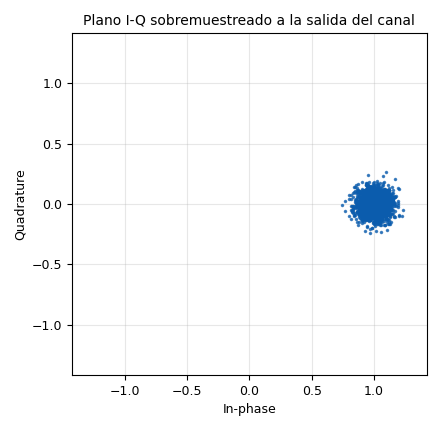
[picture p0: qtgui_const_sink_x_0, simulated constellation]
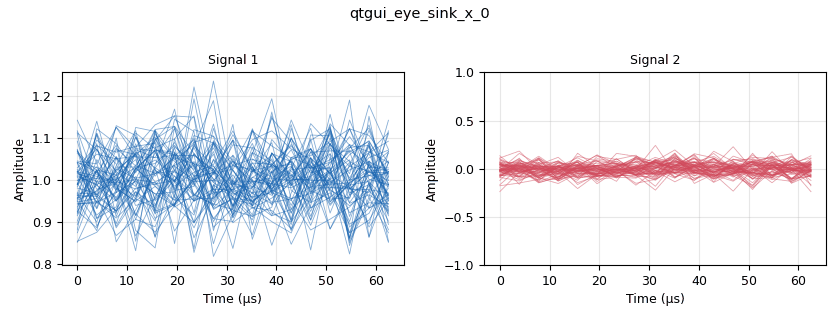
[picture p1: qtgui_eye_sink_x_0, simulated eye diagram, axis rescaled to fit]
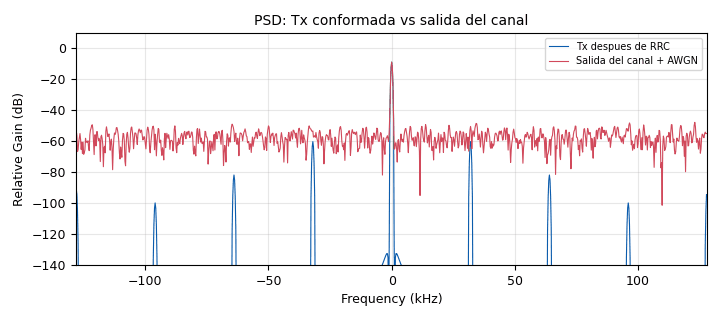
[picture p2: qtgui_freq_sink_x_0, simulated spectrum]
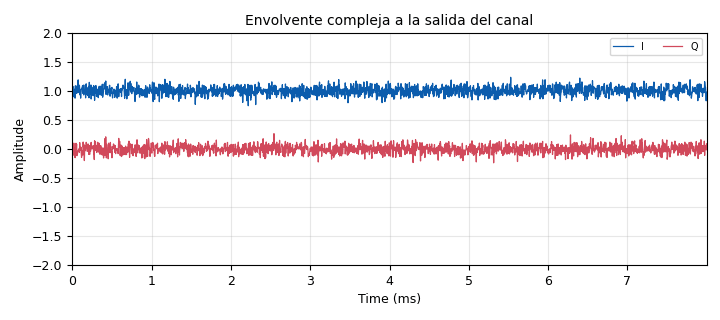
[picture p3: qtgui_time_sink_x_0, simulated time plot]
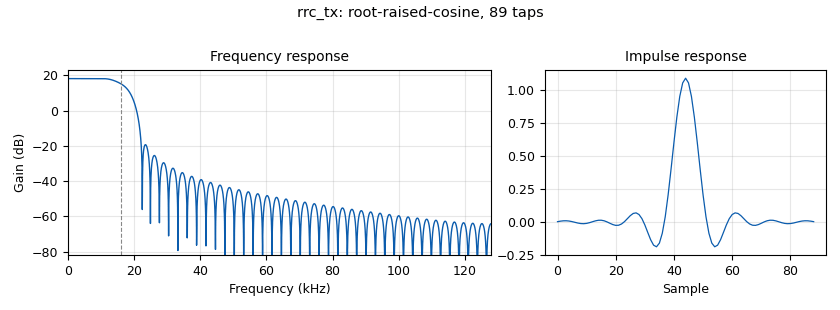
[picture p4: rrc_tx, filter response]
options:
  parameters:
    description: 'Base de continuidad: fuente, agrupacion, mapeo de constelacion, conformacion RRC de transmision y canal AWGN. No incluye receptor.'
    generate_options: qt_gui
    id: Guia2_BASE_Constelaciones_RRC_Tx_Canal
    output_language: python
    title: 'Guia2 - Base constelaciones: RRC Tx y canal'
  states: {}

blocks:
- name: M
  id: variable
  parameters:
    value: len(tabla_de_verdad_constelacion)
  states: {}
- name: Rb
  id: variable
  parameters:
    value: Rs*bps
  states: {}
- name: Rs
  id: variable
  parameters:
    value: '32000'
  states: {}
- name: Sps
  id: variable
  parameters:
    value: '8'
  states: {}
- name: beta
  id: variable_qtgui_range
  parameters:
    label: Roll-off beta
    start: '0.10'
    step: '0.05'
    stop: '1.0'
    value: '0.35'
  states: {}
- name: bps
  id: variable
  parameters:
    value: int(math.log(M,2))
  states: {}
- name: noise_amp
  id: variable_qtgui_range
  parameters:
    label: Amplitud de ruido AWGN
    start: '0'
    step: '0.01'
    stop: '0.5'
    value: '0.10'
  states: {}
- name: rrc_tx_taps
  id: variable_rrc_filter_taps
  parameters:
    alpha: beta
    gain: Sps
    ntaps: span*Sps
    samp_rate: samp_rate
    sym_rate: Rs
  states: {}
- name: samp_rate
  id: variable
  parameters:
    value: Rs*Sps
  states: {}
- name: span
  id: variable
  parameters:
    value: '11'
  states: {}
- name: tabla_de_verdad_constelacion
  id: variable
  parameters:
    comment: Cambie esta tabla para OOK ASK BPSK QPSK 8PSK o 16QAM
    value: (1+0j, 0+1j, -1+0j, 0-1j)
  states: {}
- name: analog_noise_source_x_0
  id: analog_noise_source_x
  parameters:
    amp: noise_amp
    noise_type: analog.GR_GAUSSIAN
    seed: '0'
    type: complex
  states: {}
- name: analog_random_source_x_0
  id: analog_random_source_x
  parameters:
    max: '2'
    min: '0'
    num_samps: '1000'
    repeat: 'True'
    type: byte
  states: {state: disabled}
- name: bits_to_symbols
  id: blocks_repack_bits_bb
  parameters:
    endianness: gr.GR_MSB_FIRST
    k: '1'
    l: bps
  states: {}
- name: blocks_add_xx_0
  id: blocks_add_xx
  parameters:
    type: complex
  states: {}
- name: blocks_vector_source_x_0
  id: blocks_vector_source_x
  parameters:
    repeat: 'True'
    type: byte
    vector: (0, 0, 0)
  states: {}
- name: digital_chunks_to_symbols_xx_0
  id: digital_chunks_to_symbols_xx
  parameters:
    dimension: '1'
    in_type: byte
    out_type: complex
    symbol_table: tabla_de_verdad_constelacion
  states: {}
- name: import_0
  id: import
  parameters:
    imports: import math
  states: {}
- name: qtgui_const_sink_x_0
  id: qtgui_const_sink_x
  parameters:
    autoscale: 'True'
    grid: 'True'
    label1: '"Salida del canal + AWGN"'
    legend: 'False'
    name: '"Plano I-Q sobremuestreado a la salida del canal"'
    size: '2048'
    type: complex
  states: {}
- name: qtgui_eye_sink_x_0
  id: qtgui_eye_sink_x
  parameters:
    samp_per_symbol: Sps
    size: '1024'
    srate: samp_rate
    type: complex
  states: {}
- name: qtgui_freq_sink_x_0
  id: qtgui_freq_sink_x
  parameters:
    bw: samp_rate
    fc: '0'
    fftsize: '1024'
    grid: 'True'
    label1: Tx despues de RRC
    label2: Salida del canal + AWGN
    name: '"PSD: Tx conformada vs salida del canal"'
    nconnections: '2'
    type: complex
  states: {}
- name: qtgui_time_sink_x_0
  id: qtgui_time_sink_x
  parameters:
    grid: 'True'
    label1: I
    label2: Q
    name: '"Envolvente compleja a la salida del canal"'
    size: '2048'
    srate: samp_rate
    type: complex
    ymax: '2'
    ymin: '-2'
  states: {}
- name: rrc_tx
  id: interp_fir_filter_xxx
  parameters:
    interp: Sps
    taps: rrc_tx_taps
    type: ccf
  states: {}
- name: throttle_0
  id: blocks_throttle2
  parameters:
    samples_per_second: samp_rate
    type: complex
  states: {}

connections:
- [analog_noise_source_x_0, '0', blocks_add_xx_0, '1']
- [analog_random_source_x_0, '0', bits_to_symbols, '0']
- [bits_to_symbols, '0', digital_chunks_to_symbols_xx_0, '0']
- [blocks_add_xx_0, '0', qtgui_const_sink_x_0, '0']
- [blocks_add_xx_0, '0', qtgui_eye_sink_x_0, '0']
- [blocks_add_xx_0, '0', qtgui_freq_sink_x_0, '1']
- [blocks_add_xx_0, '0', qtgui_time_sink_x_0, '0']
- [blocks_vector_source_x_0, '0', bits_to_symbols, '0']
- [digital_chunks_to_symbols_xx_0, '0', rrc_tx, '0']
- [rrc_tx, '0', throttle_0, '0']
- [throttle_0, '0', blocks_add_xx_0, '0']
- [throttle_0, '0', qtgui_freq_sink_x_0, '0']

metadata:
  file_format: 1
  grc_version: 3.10.12.0
